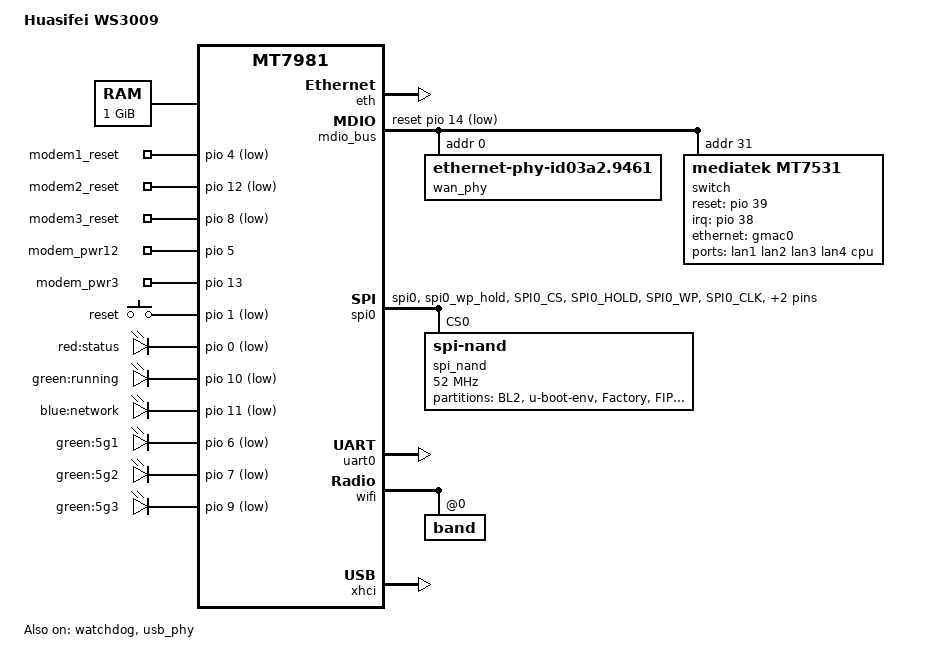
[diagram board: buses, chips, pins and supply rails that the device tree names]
// SPDX-License-Identifier: GPL-2.0-or-later OR MIT

/dts-v1/;
#include <dt-bindings/gpio/gpio.h>
#include <dt-bindings/input/input.h>
#include <dt-bindings/leds/common.h>
#include <dt-bindings/pinctrl/mt65xx.h>

#include "mt7981b.dtsi"

/ {
	model = "Huasifei WS3009";
	compatible = "huasifei,ws3009", "mediatek,mt7981";

	aliases {
		serial0 = &uart0;
		led-boot = &led_sys;
		led-failsafe = &led_sys;
		led-running = &led_running;
		led-upgrade = &led_sys;
	};

	chosen {
		stdout-path = "serial0:115200n8";
	};

	memory {
		reg = <0 0x40000000 0 0x40000000>;
		device_type = "memory";
	};

	// WS3009 has 3x M.2 5G modules:
	// - GPIO4:  Mod1 reset  (active high, low during work)
	// - GPIO12: Mod2 reset  (active high, low during work)
	// - GPIO8:  Mod3 reset  (active high, low during work)
	// - GPIO5:  Mod1 & Mod2 power  (active high)
	// - GPIO13: Mod3 power / FAN-FG alt (active high)
	gpio-export {
		compatible = "gpio-export";

		modem1-reset {
			gpio-export,name = "modem1_reset";
			gpio-export,output = <0>;
			gpios = <&pio 4 GPIO_ACTIVE_LOW>;
		};

		modem2-reset {
			gpio-export,name = "modem2_reset";
			gpio-export,output = <0>;
			gpios = <&pio 12 GPIO_ACTIVE_LOW>;
		};

		modem3-reset {
			gpio-export,name = "modem3_reset";
			gpio-export,output = <0>;
			gpios = <&pio 8 GPIO_ACTIVE_LOW>;
		};

		modem-pwr12 {
			gpio-export,name = "modem_pwr12";
			gpio-export,output = <1>;
			gpios = <&pio 5 GPIO_ACTIVE_HIGH>;
		};

		modem-pwr3 {
			gpio-export,name = "modem_pwr3";
			gpio-export,output = <1>;
			gpios = <&pio 13 GPIO_ACTIVE_HIGH>;
		};
	};

	gpio-keys {
		compatible = "gpio-keys";

		reset {
			label = "reset";
			linux,code = <KEY_RESTART>;
			gpios = <&pio 1 GPIO_ACTIVE_LOW>;
		};
	};

	// WS3009 LED mapping (RGB + 3 network):
	// GPIO0  = Red   (system status)
	// GPIO10 = Green (running)
	// GPIO11 = Blue  (network / RGB blue component)
	// GPIO6  = 5G1 modem LED
	// GPIO7  = 5G2 modem LED
	// GPIO9  = 5G3 modem LED
	gpio-leds {
		compatible = "gpio-leds";

		led_sys: led-0 {
			label = "red:status";
			gpios = <&pio 0 GPIO_ACTIVE_LOW>;
		};

		led_running: led-1 {
			label = "green:running";
			gpios = <&pio 10 GPIO_ACTIVE_LOW>;
		};

		led-2 {
			label = "blue:network";
			gpios = <&pio 11 GPIO_ACTIVE_LOW>;
		};

		led-3 {
			label = "green:5g1";
			gpios = <&pio 6 GPIO_ACTIVE_LOW>;
		};

		led-4 {
			label = "green:5g2";
			gpios = <&pio 7 GPIO_ACTIVE_LOW>;
		};

		led-5 {
			label = "green:5g3";
			gpios = <&pio 9 GPIO_ACTIVE_LOW>;
		};
	};
};

// WS3009 network topology:
//
// gmac0 → 2500base-x → MT7531 CPU (port6)
//   ├── port0 → lan1
//   ├── port1 → lan2
//   ├── port2 → lan3
//   └── port3 → lan4
// gmac1 → gmii → WAN PHY(mdio:0) → WAN
//
// Note: Unlike WS3006 where WAN is on switch port5 and lan3 is on gmac1,
// WS3009 has all 4 LAN on the switch and WAN directly on gmac1.

&eth {
	pinctrl-names = "default";
	pinctrl-0 = <&mdio_pins>;
	status = "okay";

	gmac0: mac@0 {
		compatible = "mediatek,eth-mac";
		reg = <0>;
		phy-mode = "2500base-x";
		nvmem-cells = <&macaddr_factory_4 1>;
		nvmem-cell-names = "mac-address";

		fixed-link {
			speed = <2500>;
			full-duplex;
			pause;
		};
	};

	gmac1: mac@1 {
		compatible = "mediatek,eth-mac";
		reg = <1>;
		phy-mode = "gmii";
		phy-handle = <&wan_phy>;
		nvmem-cells = <&macaddr_factory_4 2>;
		nvmem-cell-names = "mac-address";
		label = "wan";
	};
};

&mdio_bus {
	reset-gpios = <&pio 14 GPIO_ACTIVE_LOW>;
	reset-delay-us = <100000>;
	reset-post-delay-us = <100000>;

	wan_phy: ethernet-phy@0 {
		compatible = "ethernet-phy-id03a2.9461";
		reg = <0>;
		phy-mode = "gmii";
		nvmem-cells = <&phy_cal_factory>;
		nvmem-cell-names = "phy-cal-data";
	};

	switch: switch@1f {
		compatible = "mediatek,mt7531";
		reg = <31>;
		reset-gpios = <&pio 39 GPIO_ACTIVE_HIGH>;
		interrupt-controller;
		#interrupt-cells = <1>;
		interrupt-parent = <&pio>;
		interrupts = <38 IRQ_TYPE_LEVEL_HIGH>;

		ports {
			#address-cells = <1>;
			#size-cells = <0>;

			port@0 {
				reg = <0>;
				label = "lan1";
				nvmem-cells = <&macaddr_factory_4 1>;
				nvmem-cell-names = "mac-address";
			};

			port@1 {
				reg = <1>;
				label = "lan2";
				nvmem-cells = <&macaddr_factory_4 1>;
				nvmem-cell-names = "mac-address";
			};

			port@2 {
				reg = <2>;
				label = "lan3";
				nvmem-cells = <&macaddr_factory_4 1>;
				nvmem-cell-names = "mac-address";
			};

			port@3 {
				reg = <3>;
				label = "lan4";
				nvmem-cells = <&macaddr_factory_4 1>;
				nvmem-cell-names = "mac-address";
			};

			port@6 {
				reg = <6>;
				label = "cpu";
				ethernet = <&gmac0>;
				phy-mode = "2500base-x";

				fixed-link {
					speed = <2500>;
					full-duplex;
					pause;
				};
			};
		};
	};
};

&spi0 {
	pinctrl-names = "default";
	pinctrl-0 = <&spi0_flash_pins>;
	status = "okay";

	spi_nand: flash@0 {
		compatible = "spi-nand";
		reg = <0>;

		spi-max-frequency = <52000000>;
		spi-tx-buswidth = <4>;
		spi-rx-buswidth = <4>;

		mediatek,nmbm;
		mediatek,bmt-max-ratio = <1>;
		mediatek,bmt-max-reserved-blocks = <64>;

		partitions {
			compatible = "fixed-partitions";
			#address-cells = <1>;
			#size-cells = <1>;

			partition@0 {
				label = "BL2";
				reg = <0x0 0x100000>;
				read-only;
			};

			partition@100000 {
				label = "u-boot-env";
				reg = <0x100000 0x80000>;
			};

			partition@180000 {
				label = "Factory";
				reg = <0x180000 0x200000>;

				nvmem-layout {
					compatible = "fixed-layout";
					#address-cells = <1>;
					#size-cells = <1>;

					eeprom_factory_0: eeprom@0 {
						reg = <0x0 0x1000>;
					};

					macaddr_factory_4: macaddr@4 {
						compatible = "mac-base";
						reg = <0x4 0x6>;
						#nvmem-cell-cells = <1>;
					};

					phy_cal_factory: calib@8dc {
						reg = <0x8dc 0x10>;
					};
				};
			};

			partition@380000 {
				label = "FIP";
				reg = <0x380000 0x200000>;
				read-only;
			};

			partition@580000 {
				label = "ubi";
				reg = <0x580000 0xe280000>;
			};
		};
	};
};

&pio {
	spi0_flash_pins: spi0-pins {
		mux {
			function = "spi";
			groups = "spi0", "spi0_wp_hold";
		};

		conf-pu {
			pins = "SPI0_CS", "SPI0_HOLD", "SPI0_WP";
			drive-strength = <MTK_DRIVE_8mA>;
			bias-pull-up = <MTK_PUPD_SET_R1R0_11>;
		};

		conf-pd {
			pins = "SPI0_CLK", "SPI0_MOSI", "SPI0_MISO";
			drive-strength = <MTK_DRIVE_8mA>;
			bias-pull-down = <MTK_PUPD_SET_R1R0_11>;
		};
	};
};

&uart0 {
	status = "okay";
};

&watchdog {
	status = "okay";
};

&wifi {
	status = "okay";
	nvmem-cells = <&eeprom_factory_0>;
	nvmem-cell-names = "eeprom";

	band@0 {
		reg = <0>;
		nvmem-cells = <&macaddr_factory_4 0>;
		nvmem-cell-names = "mac-address";
	};
};

&usb_phy {
	status = "okay";
};

&xhci {
	status = "okay";
};
